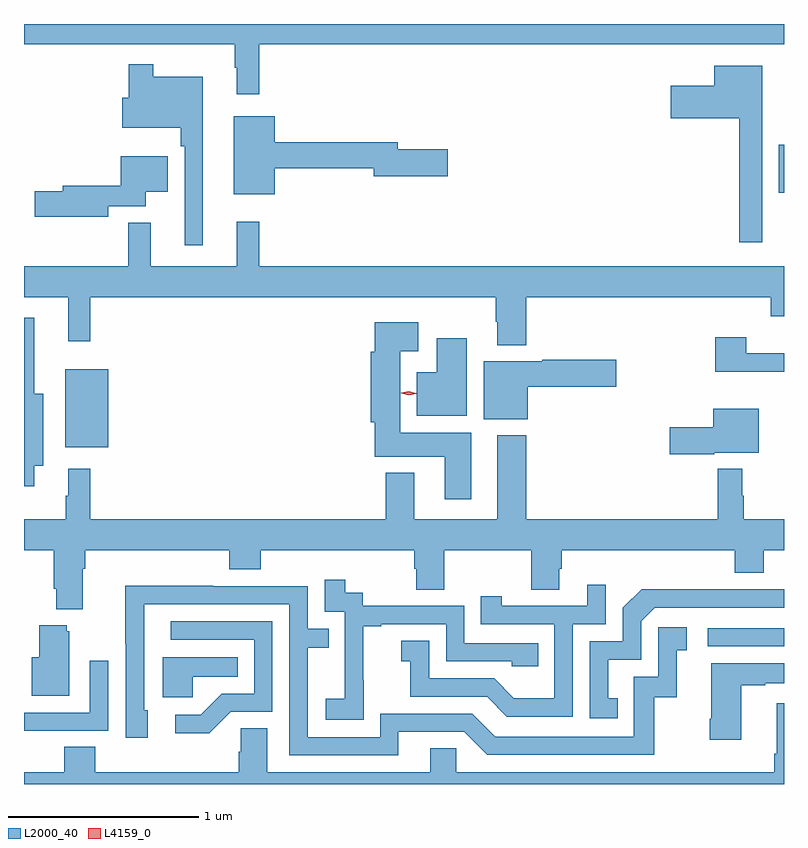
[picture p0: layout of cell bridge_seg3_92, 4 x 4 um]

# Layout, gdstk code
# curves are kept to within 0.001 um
import gdstk
lib = gdstk.Library(unit=1e-6, precision=1e-09)
def R(c, l, rs):  # rectangles x0, y0, x1, y1
    for r in rs: c.add(gdstk.rectangle(r[:2], r[2:], *l))
def P(c, l, *ps):  # polygons
    for p in ps: c.add(gdstk.Polygon(p, *l))
L2000_40 = (2000, 40)
L4159_0 = (4159, 0)

bridge_seg3_92 = lib.new_cell('bridge_seg3_92')
R(bridge_seg3_92, L2000_40, [(415.077,719.058,415.478,719.154), (411.695,720.107,411.922,720.517), (415.451,721.445,415.478,721.699)])
P(bridge_seg3_92, L2000_40, [(412.715,722.228),(415.478,722.228),(415.478,722.334),(411.478,722.334),(411.478,722.228),(412.587,722.228),(412.587,722.105),(412.598,722.105),(412.598,721.965),(412.715,721.965)],
  [(412.42,722.056),(412.159,722.056),(412.159,722.122),(412.03,722.122),(412.03,721.945),(411.996,721.945),(411.996,721.787),(412.303,721.787),(412.303,721.691),(412.323,721.691),(412.323,721.17),(412.42,721.17)],
  [(415.363,722.113),(415.112,722.113),(415.112,722.008),(414.882,722.008),(414.882,721.838),(415.242,721.838),(415.242,721.185),(415.363,721.185)],
  [(412.798,721.576),(413.318,721.576),(413.318,721.534),(413.707,721.534),(413.707,721.676),(413.446,721.676),(413.446,721.712),(412.798,721.712),(412.798,721.849),(412.583,721.849),(412.583,721.439),(412.798,721.439)],
  [(411.922,721.374),(412.12,721.374),(412.12,721.451),(412.234,721.451),(412.234,721.639),(411.986,721.639),(411.986,721.483),(411.683,721.483),(411.683,721.454),(411.534,721.454),(411.534,721.319),(411.922,721.319)],
  [(414.122,720.896),(415.409,720.896),(415.409,720.797),(415.478,720.797),(415.478,721.06),(412.715,721.06),(412.715,721.294),(412.598,721.294),(412.598,721.06),(412.145,721.06),(412.145,721.289),(412.027,721.289),(412.027,721.06),(411.478,721.06),(411.478,720.896),(411.71,720.896),(411.71,720.663),(411.827,720.663),(411.827,720.896),(413.962,720.896),(413.962,720.766),(413.969,720.766),(413.969,720.644),(414.122,720.644)],
  [(411.532,720.008),(411.58,720.008),(411.58,720.388),(411.532,720.388),(411.532,720.787),(411.478,720.787),(411.478,719.9),(411.532,719.9)],
  [(413.833,720.184),(413.458,720.184),(413.458,720.611),(413.554,720.611),(413.554,720.763),(413.324,720.763),(413.324,720.609),(413.303,720.609),(413.303,720.237),(413.324,720.237),(413.324,720.056),(413.693,720.056),(413.693,719.832),(413.833,719.832)],
  [(415.363,720.504),(415.478,720.504),(415.478,720.602),(415.28,720.602),(415.28,720.685),(415.115,720.685),(415.115,720.503),(415.363,720.503)],
  [(413.809,720.679),(413.651,720.679),(413.651,720.502),(413.546,720.502),(413.546,720.272),(413.809,720.272)],
  [(414.13,720.425),(414.595,720.425),(414.595,720.567),(414.205,720.567),(414.205,720.559),(413.897,720.559),(413.897,720.254),(414.13,720.254)],
  [(415.11,720.077),(415.345,720.077),(415.345,720.31),(415.106,720.31),(415.106,720.212),(414.876,720.212),(414.876,720.07),(415.11,720.07)],
  [(411.787,719.468),(411.8,719.468),(411.8,719.564),(412.559,719.564),(412.559,719.465),(412.724,719.465),(412.724,719.564),(413.531,719.564),(413.531,719.466),(413.543,719.466),(413.543,719.356),(413.691,719.356),(413.691,719.564),(414.148,719.564),(414.148,719.356),(414.295,719.356),(414.295,719.466),(414.308,719.466),(414.308,719.564),(415.22,719.564),(415.22,719.447),(415.372,719.447),(415.372,719.564),(415.478,719.564),(415.478,719.728),(415.265,719.728),(415.265,719.852),(415.258,719.852),(415.258,719.992),(415.13,719.992),(415.13,719.728),(414.122,719.728),(414.122,720.169),(413.969,720.169),(413.969,719.728),(413.533,719.728),(413.533,719.971),(413.381,719.971),(413.381,719.728),(411.827,719.728),(411.827,719.992),(411.71,719.992),(411.71,719.852),(411.699,719.852),(411.699,719.728),(411.478,719.728),(411.478,719.564),(411.635,719.564),(411.635,719.362),(411.647,719.362),(411.647,719.255),(411.787,719.255)],
  [(413.265,718.879),(413.264,718.879),(413.264,719.163),(413.359,719.163),(413.359,719.175),(413.7,719.175),(413.7,718.98),(414.045,718.98),(414.045,718.953),(414.185,718.953),(414.185,719.076),(413.796,719.076),(413.796,719.271),(413.262,719.271),(413.262,719.34),(413.17,719.34),(413.17,719.41),(413.061,719.41),(413.061,719.241),(413.166,719.241),(413.166,719.012),(413.165,719.012),(413.165,718.783),(413.067,718.783),(413.067,718.673),(413.265,718.673)],
  [(414.366,719.175),(414.54,719.175),(414.54,719.383),(414.443,719.383),(414.443,719.271),(413.992,719.271),(413.992,719.323),(413.881,719.323),(413.881,719.175),(414.27,719.175),(414.27,718.786),(414.056,718.786),(413.952,718.89),(413.61,718.89),(413.61,719.089),(413.463,719.089),(413.463,718.979),(413.512,718.979),(413.512,718.794),(413.915,718.794),(414.02,718.689),(414.366,718.689)],
  [(413.449,718.608),(413.796,718.608),(413.916,718.488),(414.796,718.488),(414.796,718.791),(414.914,718.791),(414.914,719.037),(414.967,719.037),(414.967,719.158),(414.816,719.158),(414.816,718.899),(414.687,718.899),(414.687,718.584),(413.958,718.584),(413.838,718.704),(413.352,718.704),(413.352,718.581),(412.971,718.581),(412.971,719.05),(413.081,719.05),(413.081,719.151),(412.971,719.151),(412.971,719.376),(412.475,719.376),(412.475,719.378),(412.012,719.378),(412.012,719.071),(412.014,719.071),(412.014,718.578),(412.129,718.578),(412.129,718.722),(412.11,718.722),(412.111,719.28),(412.875,719.28),(412.875,718.485),(413.449,718.485)],
  [(414.602,718.785),(414.553,718.785),(414.553,718.989),(414.726,718.989),(414.726,719.19),(414.798,719.262),(415.478,719.262),(415.478,719.358),(415.136,719.358),(415.136,719.36),(414.728,719.36),(414.63,719.262),(414.63,719.085),(414.456,719.085),(414.456,718.68),(414.602,718.68)],
  [(412.566,718.713),(412.785,718.713),(412.785,719.19),(412.251,719.19),(412.251,719.094),(412.689,719.094),(412.689,718.809),(412.52,718.809),(412.409,718.698),(412.275,718.698),(412.275,718.601),(412.453,718.601)],
  [(411.715,719.139),(411.704,719.139),(411.704,719.17),(411.557,719.17),(411.557,719.002),(411.518,719.002),(411.518,718.799),(411.715,718.799)],
  [(412.365,718.898),(412.604,718.898),(412.604,719.002),(412.208,719.002),(412.208,718.79),(412.365,718.79)],
  [(411.605,718.614),(411.921,718.614),(411.921,718.984),(411.825,718.984),(411.825,718.71),(411.478,718.71),(411.478,718.613),(411.605,718.613)],
  [(415.252,718.855),(415.379,718.855),(415.379,718.865),(415.478,718.865),(415.478,718.969),(415.094,718.969),(415.094,718.678),(415.087,718.678),(415.087,718.566),(415.252,718.566)],
  [(415.478,718.759),(415.439,718.759),(415.439,718.492),(415.427,718.492),(415.427,718.396),(413.754,718.396),(413.754,718.523),(413.615,718.523),(413.615,718.396),(412.759,718.396),(412.759,718.628),(412.62,718.628),(412.62,718.505),(412.607,718.505),(412.607,718.396),(411.854,718.396),(411.854,718.529),(411.689,718.529),(411.689,718.396),(411.478,718.396),(411.478,718.334),(415.478,718.334)])
P(bridge_seg3_92, L4159_0, [(413.502,720.381),(413.463,720.391),(413.463,720.392),(413.463,720.392),(413.503,720.4),(413.542,720.39),(413.542,720.39),(413.542,720.389)])

lib.write_gds('bridge_seg3_92.gds')
